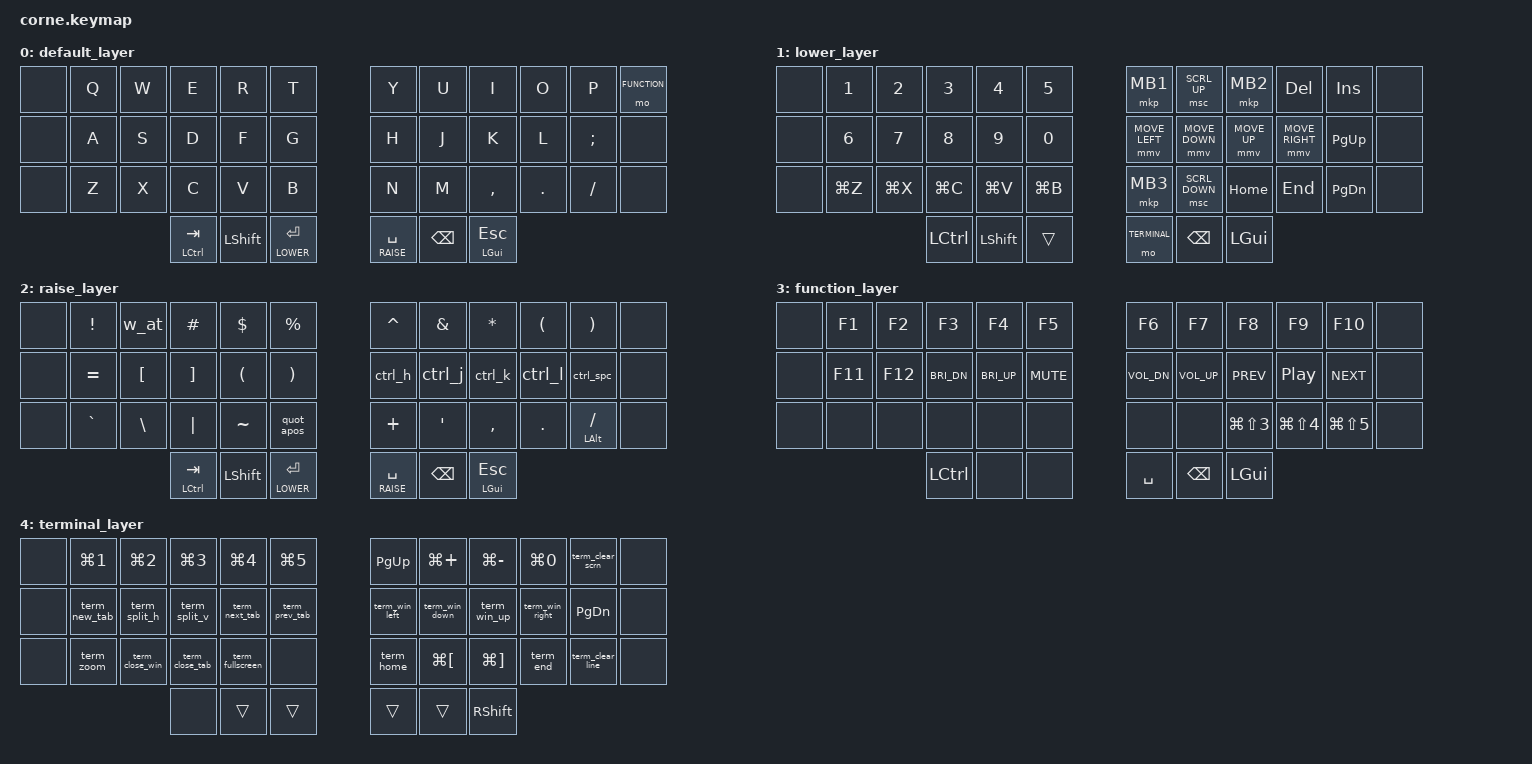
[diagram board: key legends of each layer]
/*
 * Copyright (c) 2020 The ZMK Contributors
 * Converted from QMK Cygnus V1 layout for ZMK
 * SPDX-License-Identifier: MIT
 */

#include <behaviors.dtsi>
#include <dt-bindings/zmk/keys.h>
#include <dt-bindings/zmk/pointing.h>

// Layer definitions
#define BASE 0
#define LOWER 1
#define RAISE 2
#define FUNCTION 3
#define TERMINAL 4

// Custom behaviors for complex keycodes
/ {
    behaviors {
        // Tap-hold for layer access
        lhm: left_hand_positional_hold_tap {
            compatible = "zmk,behavior-hold-tap";
            #binding-cells = <2>;
            flavor = "tap-preferred";
            tapping-term-ms = <200>;
            quick-tap-ms = <200>;
            bindings = <&kp>, <&kp>;
        };

        // Custom behavior for CTRL+key combinations
        ctrl_h: ctrl_h {
            compatible = "zmk,behavior-mod-morph";
            #binding-cells = <0>;
            bindings = <&kp MINUS>, <&kp LEFT>;
            mods = <(MOD_LCTL|MOD_RCTL)>;
            keep-mods = <(MOD_LCTL|MOD_RCTL)>;
        };

        ctrl_j: ctrl_j {
            compatible = "zmk,behavior-mod-morph";
            #binding-cells = <0>;
            bindings = <&kp UNDER>, <&kp DOWN>;
            mods = <(MOD_LCTL|MOD_RCTL)>;
            keep-mods = <(MOD_LCTL|MOD_RCTL)>;
        };

        ctrl_k: ctrl_k {
            compatible = "zmk,behavior-mod-morph";
            #binding-cells = <0>;
            bindings = <&kp LBRC>, <&kp UP>;
            mods = <(MOD_LCTL|MOD_RCTL)>;
            keep-mods = <(MOD_LCTL|MOD_RCTL)>;
        };

        ctrl_l: ctrl_l {
            compatible = "zmk,behavior-mod-morph";
            #binding-cells = <0>;
            bindings = <&kp RBRC>, <&kp RIGHT>;
            mods = <(MOD_LCTL|MOD_RCTL)>;
            keep-mods = <(MOD_LCTL|MOD_RCTL)>;
        };

        ctrl_spc: ctrl_spc {
            compatible = "zmk,behavior-mod-morph";
            #binding-cells = <0>;
            bindings = <&kp SEMI>, <&kp LG(SPACE)>;
            mods = <(MOD_LCTL|MOD_RCTL)>;
            keep-mods = <(MOD_LCTL|MOD_RCTL)>;
        };

        // W normally, @ when shifted
        w_at: w_at {
            compatible = "zmk,behavior-mod-morph";
            #binding-cells = <0>;
            bindings = <&kp W>, <&kp AT>;
            mods = <(MOD_LSFT|MOD_RSFT)>;
        };

        // Quote/Apostrophe - " normally, ' when shifted
        quot_apos: quot_apos {
            compatible = "zmk,behavior-mod-morph";
            #binding-cells = <0>;
            bindings = <&kp DQT>, <&kp SQT>;
            mods = <(MOD_LSFT|MOD_RSFT)>;
        };
    };

    // Macros for terminal functions
    macros {
        // Terminal tab management
        term_new_tab: term_new_tab {
            compatible = "zmk,behavior-macro";
            #binding-cells = <0>;
            bindings = <&kp LG(T)>;
        };

        term_close_tab: term_close_tab {
            compatible = "zmk,behavior-macro";
            #binding-cells = <0>;
            bindings = <&kp LG(W)>;
        };

        term_close_win: term_close_win {
            compatible = "zmk,behavior-macro";
            #binding-cells = <0>;
            bindings = <&kp LG(LS(W))>;
        };

        term_next_tab: term_next_tab {
            compatible = "zmk,behavior-macro";
            #binding-cells = <0>;
            bindings = <&kp LG(LS(RBKT))>;
        };

        term_prev_tab: term_prev_tab {
            compatible = "zmk,behavior-macro";
            #binding-cells = <0>;
            bindings = <&kp LG(LS(LBKT))>;
        };

        // Terminal splits
        term_split_h: term_split_h {
            compatible = "zmk,behavior-macro";
            #binding-cells = <0>;
            bindings = <&kp LG(D)>;
        };

        term_split_v: term_split_v {
            compatible = "zmk,behavior-macro";
            #binding-cells = <0>;
            bindings = <&kp LG(LS(D))>;
        };

        // Neovim split resizing
        term_win_left: term_win_left {
            compatible = "zmk,behavior-macro";
            #binding-cells = <0>;
            bindings = <&kp LC(W)>, <&kp LT>;
        };

        term_win_down: term_win_down {
            compatible = "zmk,behavior-macro";
            #binding-cells = <0>;
            bindings = <&kp LC(W)>, <&kp MINUS>;
        };

        term_win_up: term_win_up {
            compatible = "zmk,behavior-macro";
            #binding-cells = <0>;
            bindings = <&kp LC(W)>, <&kp PLUS>;
        };

        term_win_right: term_win_right {
            compatible = "zmk,behavior-macro";
            #binding-cells = <0>;
            bindings = <&kp LC(W)>, <&kp GT>;
        };

        // Terminal navigation
        term_zoom: term_zoom {
            compatible = "zmk,behavior-macro";
            #binding-cells = <0>;
            bindings = <&kp LG(LS(RET))>;
        };

        term_fullscreen: term_fullscreen {
            compatible = "zmk,behavior-macro";
            #binding-cells = <0>;
            bindings = <&kp LC(LG(F))>;
        };

        term_clear_line: term_clear_line {
            compatible = "zmk,behavior-macro";
            #binding-cells = <0>;
            bindings = <&kp LC(K)>;
        };

        term_clear_scrn: term_clear_scrn {
            compatible = "zmk,behavior-macro";
            #binding-cells = <0>;
            bindings = <&kp LG(K)>;
        };

        term_home: term_home {
            compatible = "zmk,behavior-macro";
            #binding-cells = <0>;
            bindings = <&kp LC(A)>;
        };

        term_end: term_end {
            compatible = "zmk,behavior-macro";
            #binding-cells = <0>;
            bindings = <&kp LC(E)>;
        };
    };

    // Combos (converted from QMK)
    combos {
        compatible = "zmk,combos";
        
        combo_esc {
            timeout-ms = <50>;
            key-positions = <13 14>; // Q W
            bindings = <&kp ESC>;
        };

        combo_tab {
            timeout-ms = <50>;
            key-positions = <25 26>; // A S
            bindings = <&kp TAB>;
        };

        combo_enter {
            timeout-ms = <50>;
            key-positions = <32 33>; // L ;
            bindings = <&kp RET>;
        };
    };

    // Conditional layers - replicating QMK's tri-layer functionality
    conditional_layers {
        compatible = "zmk,conditional-layers";
        tri_layer {
            if-layers = <LOWER RAISE>;
            then-layer = <TERMINAL>;
        };
    };

    keymap {
        compatible = "zmk,keymap";

        // ============================================================================
        // BASE LAYER - QWERTY with Alt access and ergonomic improvements
        // ============================================================================
        default_layer {
            bindings = <
        //╭──────────┬──────────┬──────────┬──────────┬──────────┬──────────╮   ╭──────────┬──────────┬──────────┬──────────┬──────────┬──────────╮
        //│  NONE    │    Q     │    W     │    E     │    R     │    T     │   │    Y     │    U     │    I     │    O     │    P     │ FUNCTION │
            &none      &kp Q      &kp W      &kp E      &kp R      &kp T          &kp Y      &kp U      &kp I      &kp O      &kp P      &mo FUNCTION
        //├──────────┼──────────┼──────────┼──────────┼──────────┼──────────┤   ├──────────┼──────────┼──────────┼──────────┼──────────┼──────────┤
        //│  NONE    │    A     │    S     │    D     │    F     │    G     │   │    H     │    J     │    K     │    L     │    ;     │  NONE    │
            &none      &kp A      &kp S      &kp D      &kp F      &kp G          &kp H      &kp J      &kp K      &kp L      &kp SEMI   &none
        //├──────────┼──────────┼──────────┼──────────┼──────────┼──────────┤   ├──────────┼──────────┼──────────┼──────────┼──────────┼──────────┤
        //│  NONE    │    Z     │    X     │    C     │    V     │    B     │   │    N     │    M     │    ,     │    .     │    /     │  NONE    │
            &none      &kp Z      &kp X      &kp C      &kp V      &kp B          &kp N      &kp M      &kp COMMA  &kp DOT    &kp FSLH   &none
        //╰──────────┴──────────┴──────────┼──────────┼──────────┼──────────┤   ├──────────┼──────────┼──────────┼──────────┴──────────┴──────────╯
                                            &lhm LCTRL TAB &kp LSHFT &lt LOWER RET   &lt RAISE SPACE &kp BSPC &lhm LGUI ESC
        //                                 ╰──────────┴──────────┴──────────╯   ╰──────────┴──────────┴──────────╯
            >;
        };

        // ============================================================================
        // LOWER LAYER - Numbers & Navigation
        // ============================================================================
        lower_layer {
            bindings = <
        //╭──────────┬──────────┬──────────┬──────────┬──────────┬──────────╮   ╭──────────┬──────────┬──────────┬──────────┬──────────┬──────────╮
        //│  NONE    │    1     │    2     │    3     │    4     │    5     │   │   MB1    │  SCR_UP  │   MB2    │   DEL    │   INS    │  NONE    │
            &none      &kp N1     &kp N2     &kp N3     &kp N4     &kp N5         &mkp MB1   &msc SCRL_UP &mkp MB2 &kp DEL    &kp INS    &none
        //├──────────┼──────────┼──────────┼──────────┼──────────┼──────────┤   ├──────────┼──────────┼──────────┼──────────┼──────────┼──────────┤
        //│  NONE    │    6     │    7     │    8     │    9     │    0     │   │ MV_LEFT  │ MV_DOWN  │  MV_UP   │ MV_RIGHT │  PG_UP   │  NONE    │
            &none      &kp N6     &kp N7     &kp N8     &kp N9     &kp N0         &mmv MOVE_LEFT &mmv MOVE_DOWN &mmv MOVE_UP &mmv MOVE_RIGHT &kp PG_UP &none
        //├──────────┼──────────┼──────────┼──────────┼──────────┼──────────┤   ├──────────┼──────────┼──────────┼──────────┼──────────┼──────────┤
        //│  NONE    │  CMD+Z   │  CMD+X   │  CMD+C   │  CMD+V   │  CMD+B   │   │   MB3    │ SCR_DOWN │   HOME   │   END    │  PG_DN   │  NONE    │
            &none      &kp LG(Z)  &kp LG(X)  &kp LG(C)  &kp LG(V)  &kp LG(B)      &mkp MB3   &msc SCRL_DOWN &kp HOME &kp END    &kp PG_DN  &none
        //╰──────────┴──────────┴──────────┼──────────┼──────────┼──────────┤   ├──────────┼──────────┼──────────┼──────────┴──────────┴──────────╯
                                            &kp LCTRL  &kp LSHFT  &trans         &mo TERMINAL &kp BSPC   &kp LGUI
        //                                 ╰──────────┴──────────┴──────────╯   ╰──────────┴──────────┴──────────╯
            >;
        };

        // ============================================================================
        // RAISE LAYER - Programming Symbols
        // ============================================================================
        raise_layer {
            bindings = <
        //╭──────────┬──────────┬──────────┬──────────┬──────────┬──────────╮   ╭──────────┬──────────┬──────────┬──────────┬──────────┬──────────╮
        //│  NONE    │    !     │   W/@    │    #     │    $     │    %     │   │    ^     │    &     │    *     │    (     │    )     │  NONE    │
            &none      &kp EXCL   &w_at      &kp HASH   &kp DLLR   &kp PRCNT      &kp CARET  &kp AMPS   &kp STAR   &kp LPAR   &kp RPAR   &none
        //├──────────┼──────────┼──────────┼──────────┼──────────┼──────────┤   ├──────────┼──────────┼──────────┼──────────┼──────────┼──────────┤
        //│  NONE    │    =     │    [     │    ]     │    (     │    )     │   │  CTRL_H  │  CTRL_J  │  CTRL_K  │  CTRL_L  │ CTRL_SPC │  NONE    │
            &none      &kp EQUAL  &kp LBKT   &kp RBKT   &kp LPAR   &kp RPAR       &ctrl_h    &ctrl_j    &ctrl_k    &ctrl_l    &ctrl_spc  &none
        //├──────────┼──────────┼──────────┼──────────┼──────────┼──────────┤   ├──────────┼──────────┼──────────┼──────────┼──────────┼──────────┤
        //│  NONE    │    `     │    \     │    |     │    ~     │  "/'/'"  │   │    +     │    '     │    ,     │    .     │ ALT+/    │  NONE    │
            &none      &kp GRAVE  &kp BSLH   &kp PIPE   &kp TILDE  &quot_apos     &kp PLUS   &kp SQT    &kp COMMA  &kp DOT    &lhm LALT FSLH &none
        //╰──────────┴──────────┴──────────┼──────────┼──────────┼──────────┤   ├──────────┼──────────┼──────────┼──────────┴──────────┴──────────╯
                                            &lhm LCTRL TAB &kp LSHFT &lt LOWER RET   &lt RAISE SPACE &kp BSPC &lhm LGUI ESC
        //                                 ╰──────────┴──────────┴──────────╯   ╰──────────┴──────────┴──────────╯
            >;
        };

        // ============================================================================
        // FUNCTION LAYER - F-keys & Mac System Controls
        // ============================================================================
        function_layer {
            bindings = <
        //╭──────────┬──────────┬──────────┬──────────┬──────────┬──────────╮   ╭──────────┬──────────┬──────────┬──────────┬──────────┬──────────╮
        //│  NONE    │    F1    │    F2    │    F3    │    F4    │    F5    │   │    F6    │    F7    │    F8    │    F9    │   F10    │  NONE    │
            &none      &kp F1     &kp F2     &kp F3     &kp F4     &kp F5         &kp F6     &kp F7     &kp F8     &kp F9     &kp F10    &none
        //├──────────┼──────────┼──────────┼──────────┼──────────┼──────────┤   ├──────────┼──────────┼──────────┼──────────┼──────────┼──────────┤
        //│  NONE    │   F11    │   F12    │  BRID    │  BRIU    │  MUTE    │   │ VOL_DN   │ VOL_UP   │  PREV    │  PLAY    │  NEXT    │  NONE    │
            &none      &kp F11    &kp F12    &kp C_BRI_DN &kp C_BRI_UP &kp C_MUTE &kp C_VOL_DN &kp C_VOL_UP &kp C_PREV &kp C_PP &kp C_NEXT &none
        //├──────────┼──────────┼──────────┼──────────┼──────────┼──────────┤   ├──────────┼──────────┼──────────┼──────────┼──────────┼──────────┤
        //│  NONE    │   NONE   │   NONE   │   NONE   │   NONE   │   NONE   │   │   NONE   │   NONE   │ CMD+S+3  │ CMD+S+4  │ CMD+S+5  │  NONE    │
            &none      &none      &none      &none      &none      &none          &none      &none      &kp LG(LS(N3)) &kp LG(LS(N4)) &kp LG(LS(N5)) &none
        //╰──────────┴──────────┴──────────┼──────────┼──────────┼──────────┤   ├──────────┼──────────┼──────────┼──────────┴──────────┴──────────╯
                                            &kp LCTRL  &none      &none          &kp SPACE  &kp BSPC   &kp LGUI
        //                                 ╰──────────┴──────────┴──────────╯   ╰──────────┴──────────┴──────────╯
            >;
        };

        // ============================================================================
        // TERMINAL LAYER - Terminal Control & Neovim
        // ============================================================================
        terminal_layer {
            bindings = <
        //╭──────────┬──────────┬──────────┬──────────┬──────────┬──────────╮   ╭──────────┬──────────┬──────────┬──────────┬──────────┬──────────╮
        //│  NONE    │  TAB_1   │  TAB_2   │  TAB_3   │  TAB_4   │  TAB_5   │   │SCROLL_UP │ FONT_INC │ FONT_DEC │ FONT_RST │CLR_SCRN  │  NONE    │
            &none      &kp LG(N1) &kp LG(N2) &kp LG(N3) &kp LG(N4) &kp LG(N5)     &kp PG_UP  &kp LG(PLUS) &kp LG(MINUS) &kp LG(N0) &term_clear_scrn &none
        //├──────────┼──────────┼──────────┼──────────┼──────────┼──────────┤   ├──────────┼──────────┼──────────┼──────────┼──────────┼──────────┤
        //│  NONE    │ NEW_TAB  │ SPLIT_H  │ SPLIT_V  │ NEXT_TAB │ PREV_TAB │   │ WIN_LEFT │ WIN_DOWN │  WIN_UP  │WIN_RIGHT │SCROLL_DN │  NONE    │
            &none      &term_new_tab &term_split_h &term_split_v &term_next_tab &term_prev_tab &term_win_left &term_win_down &term_win_up &term_win_right &kp PG_DN &none
        //├──────────┼──────────┼──────────┼──────────┼──────────┼──────────┤   ├──────────┼──────────┼──────────┼──────────┼──────────┼──────────┤
        //│  NONE    │   ZOOM   │CLOSE_WIN │CLOSE_TAB │FULLSCREEN│   NONE   │   │   HOME   │ PREV_WIN │ NEXT_WIN │   END    │CLR_LINE  │  NONE    │
            &none      &term_zoom &term_close_win &term_close_tab &term_fullscreen &none    &term_home &kp LG(LBKT) &kp LG(RBKT) &term_end &term_clear_line &none
        //╰──────────┴──────────┴──────────┼──────────┼──────────┼──────────┤   ├──────────┼──────────┼──────────┼──────────┴──────────┴──────────╯
                                            &none      &trans     &trans         &trans     &trans     &kp RSHFT
        //                                 ╰──────────┴──────────┴──────────╯   ╰──────────┴──────────┴──────────╯
            >;
        };
    };
};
